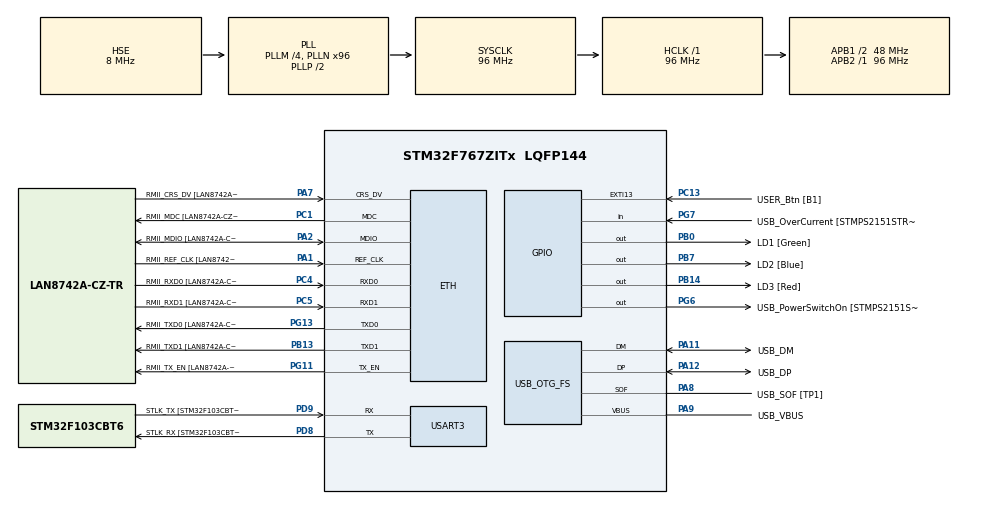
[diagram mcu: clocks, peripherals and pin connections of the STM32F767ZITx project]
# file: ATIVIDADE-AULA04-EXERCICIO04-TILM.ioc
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ETH.MediaInterface=HAL_ETH_RMII_MODE
ETH.PHY_Name=LAN8742A_PHY_ADDRESS
ETH.PHY_Value=0
ETH.PhyAddress=0
FREERTOS.Mutexes01=MeuMutex01,Dynamic,NULL,Available
FREERTOS.Tasks01=Task01,24,128,Task01_Def,Default,NULL,Dynamic,NULL,NULL;Task02,24,128,Task02_Def,Default,NULL,Dynamic,NULL,NULL;Task03,24,128,Task03_Def,Default,NULL,Dynamic,NULL,NULL
FREERTOS.configUSE_NEWLIB_REENTRANT=1
Mcu.Family=STM32F7
Mcu.Name=STM32F767ZITx
Mcu.Package=LQFP144
NVIC.PriorityGroup=NVIC_PRIORITYGROUP_4
NVIC.TIM1_UP_TIM10_IRQn=true\:15\:0\:false\:false\:true\:false\:false\:true\:true
NVIC.TimeBase=TIM1_UP_TIM10_IRQn
NVIC.TimeBaseIP=TIM1
PA1.GPIO_Label=RMII_REF_CLK [LAN8742A-CZ-TR_REFCLK0]
PA1.Mode=RMII
PA1.Signal=ETH_REF_CLK
PA10.GPIO_Label=USB_ID
PA10.Signal=USB_OTG_FS_ID
PA11.GPIO_Label=USB_DM
PA11.Mode=Device_Only
PA11.Signal=USB_OTG_FS_DM
PA12.GPIO_Label=USB_DP
PA12.Mode=Device_Only
PA12.Signal=USB_OTG_FS_DP
PA13.GPIO_Label=TMS
PA13.Mode=Serial_Wire
PA13.Signal=SYS_JTMS-SWDIO
PA14.GPIO_Label=TCK
PA14.Mode=Serial_Wire
PA14.Signal=SYS_JTCK-SWCLK
PA2.GPIO_Label=RMII_MDIO [LAN8742A-CZ-TR_MDIO]
PA2.Mode=RMII
PA2.Signal=ETH_MDIO
PA7.GPIO_Label=RMII_CRS_DV [LAN8742A-CZ-TR_CRS_DV]
PA7.Mode=RMII
PA7.Signal=ETH_CRS_DV
PA8.GPIO_Label=USB_SOF [TP1]
PA8.Mode=Activate_SOF_FS
PA8.Signal=USB_OTG_FS_SOF
PA9.GPIO_Label=USB_VBUS
PA9.Mode=Activate_VBUS
PA9.Signal=USB_OTG_FS_VBUS
PB0.GPIO_Label=LD1 [Green]
PB0.Signal=GPIO_Output
PB13.GPIO_Label=RMII_TXD1 [LAN8742A-CZ-TR_TXD1]
PB13.Mode=RMII
PB13.Signal=ETH_TXD1
PB14.GPIO_Label=LD3 [Red]
PB14.Signal=GPIO_Output
PB3.GPIO_Label=SWO
PB3.Signal=SYS_JTDO-SWO
PB7.GPIO_Label=LD2 [Blue]
PB7.Signal=GPIO_Output
PC1.GPIO_Label=RMII_MDC [LAN8742A-CZ-TR_MDC]
PC1.Mode=RMII
PC1.Signal=ETH_MDC
PC13.GPIO_Label=USER_Btn [B1]
PC13.Signal=GPXTI13
PC14/OSC32_IN.Mode=LSE-External-Oscillator
PC14/OSC32_IN.Signal=RCC_OSC32_IN
PC15/OSC32_OUT.Mode=LSE-External-Oscillator
PC15/OSC32_OUT.Signal=RCC_OSC32_OUT
PC4.GPIO_Label=RMII_RXD0 [LAN8742A-CZ-TR_RXD0]
PC4.Mode=RMII
PC4.Signal=ETH_RXD0
PC5.GPIO_Label=RMII_RXD1 [LAN8742A-CZ-TR_RXD1]
PC5.Mode=RMII
PC5.Signal=ETH_RXD1
PD8.GPIO_Label=STLK_RX [STM32F103CBT6_PA3]
PD8.Mode=Asynchronous
PD8.Signal=USART3_TX
PD9.GPIO_Label=STLK_TX [STM32F103CBT6_PA2]
PD9.Mode=Asynchronous
PD9.Signal=USART3_RX
PG11.GPIO_Label=RMII_TX_EN [LAN8742A-CZ-TR_TXEN]
PG11.Mode=RMII
PG11.Signal=ETH_TX_EN
PG13.GPIO_Label=RMII_TXD0 [LAN8742A-CZ-TR_TXD0]
PG13.Mode=RMII
PG13.Signal=ETH_TXD0
PG6.GPIO_Label=USB_PowerSwitchOn [STMPS2151STR_EN]
PG6.Signal=GPIO_Output
PG7.GPIO_Label=USB_OverCurrent [STMPS2151STR_FAULT]
PG7.Signal=GPIO_Input
PH0/OSC_IN.GPIO_Label=MCO [STM32F103CBT6_PA8]
PH0/OSC_IN.Mode=HSE-External-Clock-Source
PH0/OSC_IN.Signal=RCC_OSC_IN
PH1/OSC_OUT.Mode=HSE-External-Clock-Source
PH1/OSC_OUT.Signal=RCC_OSC_OUT
ProjectManager.HeapSize=0x200
ProjectManager.StackSize=0x400
ProjectManager.TargetToolchain=STM32CubeIDE
RCC.48MHZClocksFreq_Value=24000000
RCC.AHBFreq_Value=96000000
RCC.APB1CLKDivider=RCC_HCLK_DIV2
RCC.APB1Freq_Value=48000000
RCC.APB1TimFreq_Value=96000000
RCC.APB2Freq_Value=96000000
RCC.APB2TimFreq_Value=96000000
RCC.CortexFreq_Value=96000000
RCC.HCLKFreq_Value=96000000
RCC.HSE_VALUE=8000000
RCC.HSI_VALUE=16000000
RCC.PLLM=4
RCC.PLLMUL=RCC_PLL_MUL9
RCC.PLLN=96
RCC.PLLQ=4
RCC.PRESCALERUSB=RCC_USBCLKSOURCE_PLL_DIV1_5
RCC.SYSCLKFreq_VALUE=96000000
RCC.SYSCLKSource=RCC_SYSCLKSOURCE_PLLCLK
RCC.SYSCLKSourceVirtual=RCC_SYSCLKSOURCE_PLLCLK
RCC.USBFreq_Value=48000000
RCC.VCOOutputFreq_Value=192000000
USART3.VirtualMode-Asynchronous=VM_ASYNC
USB_OTG_FS.VirtualMode=Device_Only
VP_FREERTOS_VS_CMSIS_V2.Mode=CMSIS_V2
VP_SYS_VS_tim1.Mode=TIM1
board=NUCLEO-F767ZI

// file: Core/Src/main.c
/* USER CODE BEGIN Header */
/**
  ******************************************************************************
  * @file           : main.c
  * @brief          : Main program body
  ******************************************************************************
  * @attention
  *
  * Copyright (c) 2025 STMicroelectronics.
  * All rights reserved.
  *
  * This software is licensed under terms that can be found in the LICENSE file
  * in the root directory of this software component.
  * If no LICENSE file comes with this software, it is provided AS-IS.
  *
  ******************************************************************************
  */
/* USER CODE END Header */
#include "main.h"
#include "string.h"
#include "cmsis_os.h"

/* USER CODE BEGIN Includes */

#include <stdbool.h>

/* USER CODE END Includes */

#if defined ( __ICCARM__ ) /*!< IAR Compiler */
#pragma location=0x2007c000
ETH_DMADescTypeDef  DMARxDscrTab[ETH_RX_DESC_CNT]; /* Ethernet Rx DMA Descriptors */
#pragma location=0x2007c0a0
ETH_DMADescTypeDef  DMATxDscrTab[ETH_TX_DESC_CNT]; /* Ethernet Tx DMA Descriptors */

#elif defined ( __CC_ARM )  /* MDK ARM Compiler */

__attribute__((at(0x2007c000))) ETH_DMADescTypeDef  DMARxDscrTab[ETH_RX_DESC_CNT]; /* Ethernet Rx DMA Descriptors */
__attribute__((at(0x2007c0a0))) ETH_DMADescTypeDef  DMATxDscrTab[ETH_TX_DESC_CNT]; /* Ethernet Tx DMA Descriptors */

#elif defined ( __GNUC__ ) /* GNU Compiler */

ETH_DMADescTypeDef DMARxDscrTab[ETH_RX_DESC_CNT] __attribute__((section(".RxDecripSection"))); /* Ethernet Rx DMA Descriptors */
ETH_DMADescTypeDef DMATxDscrTab[ETH_TX_DESC_CNT] __attribute__((section(".TxDecripSection")));   /* Ethernet Tx DMA Descriptors */
#endif

ETH_TxPacketConfig TxConfig;

ETH_HandleTypeDef heth;

UART_HandleTypeDef huart3;

PCD_HandleTypeDef hpcd_USB_OTG_FS;

/* Definitions for Task01 */
osThreadId_t Task01Handle;
const osThreadAttr_t Task01_attributes = {
  .name = "Task01",
  .stack_size = 128 * 4,
  .priority = (osPriority_t) osPriorityNormal,
};
/* Definitions for Task02 */
osThreadId_t Task02Handle;
const osThreadAttr_t Task02_attributes = {
  .name = "Task02",
  .stack_size = 128 * 4,
  .priority = (osPriority_t) osPriorityNormal,
};
/* Definitions for Task03 */
osThreadId_t Task03Handle;
const osThreadAttr_t Task03_attributes = {
  .name = "Task03",
  .stack_size = 128 * 4,
  .priority = (osPriority_t) osPriorityNormal,
};
/* Definitions for MeuMutex01 */
osMutexId_t MeuMutex01Handle;
const osMutexAttr_t MeuMutex01_attributes = {
  .name = "MeuMutex01"
};

void SystemClock_Config(void);
static void MX_GPIO_Init(void);
static void MX_ETH_Init(void);
static void MX_USART3_UART_Init(void);
static void MX_USB_OTG_FS_PCD_Init(void);
void Task01_Def(void *argument);
void Task02_Def(void *argument);
void Task03_Def(void *argument);

int main(void)
{

  /* MCU Configuration--------------------------------------------------------*/

  /* Reset of all peripherals, Initializes the Flash interface and the Systick. */
  HAL_Init();

  /* Configure the system clock */
  SystemClock_Config();

  /* Initialize all configured peripherals */
  MX_GPIO_Init();
  MX_ETH_Init();
  MX_USART3_UART_Init();
  MX_USB_OTG_FS_PCD_Init();

  /* Init scheduler */
  osKernelInitialize();
  /* Create the mutex(es) */
  /* creation of MeuMutex01 */
  MeuMutex01Handle = osMutexNew(&MeuMutex01_attributes);

  /* Create the thread(s) */
  /* creation of Task01 */
  Task01Handle = osThreadNew(Task01_Def, NULL, &Task01_attributes);

  /* creation of Task02 */
  Task02Handle = osThreadNew(Task02_Def, NULL, &Task02_attributes);

  /* creation of Task03 */
  Task03Handle = osThreadNew(Task03_Def, NULL, &Task03_attributes);

  /* Start scheduler */
  osKernelStart();

  /* We should never get here as control is now taken by the scheduler */

  /* Infinite loop */
  while (1)
  {

  }
}

void SystemClock_Config(void)
{
  RCC_OscInitTypeDef RCC_OscInitStruct = {0};
  RCC_ClkInitTypeDef RCC_ClkInitStruct = {0};

  /** Configure LSE Drive Capability
  */
  HAL_PWR_EnableBkUpAccess();

  /** Configure the main internal regulator output voltage
  */
  __HAL_RCC_PWR_CLK_ENABLE();
  __HAL_PWR_VOLTAGESCALING_CONFIG(PWR_REGULATOR_VOLTAGE_SCALE3);

  /** Initializes the RCC Oscillators according to the specified parameters
  * in the RCC_OscInitTypeDef structure.
  */
  RCC_OscInitStruct.OscillatorType = RCC_OSCILLATORTYPE_HSE;
  RCC_OscInitStruct.HSEState = RCC_HSE_BYPASS;
  RCC_OscInitStruct.PLL.PLLState = RCC_PLL_ON;
  RCC_OscInitStruct.PLL.PLLSource = RCC_PLLSOURCE_HSE;
  RCC_OscInitStruct.PLL.PLLM = 4;
  RCC_OscInitStruct.PLL.PLLN = 96;
  RCC_OscInitStruct.PLL.PLLP = RCC_PLLP_DIV2;
  RCC_OscInitStruct.PLL.PLLQ = 4;
  RCC_OscInitStruct.PLL.PLLR = 2;
  if (HAL_RCC_OscConfig(&RCC_OscInitStruct) != HAL_OK)
  {
    Error_Handler();
  }

  /** Activate the Over-Drive mode
  */
  if (HAL_PWREx_EnableOverDrive() != HAL_OK)
  {
    Error_Handler();
  }

  /** Initializes the CPU, AHB and APB buses clocks
  */
  RCC_ClkInitStruct.ClockType = RCC_CLOCKTYPE_HCLK|RCC_CLOCKTYPE_SYSCLK
                              |RCC_CLOCKTYPE_PCLK1|RCC_CLOCKTYPE_PCLK2;
  RCC_ClkInitStruct.SYSCLKSource = RCC_SYSCLKSOURCE_PLLCLK;
  RCC_ClkInitStruct.AHBCLKDivider = RCC_SYSCLK_DIV1;
  RCC_ClkInitStruct.APB1CLKDivider = RCC_HCLK_DIV2;
  RCC_ClkInitStruct.APB2CLKDivider = RCC_HCLK_DIV1;

  if (HAL_RCC_ClockConfig(&RCC_ClkInitStruct, FLASH_LATENCY_3) != HAL_OK)
  {
    Error_Handler();
  }
}

static void MX_ETH_Init(void)
{

   static uint8_t MACAddr[6];

  heth.Instance = ETH;
  MACAddr[0] = 0x00;
  MACAddr[1] = 0x80;
  MACAddr[2] = 0xE1;
  MACAddr[3] = 0x00;
  MACAddr[4] = 0x00;
  MACAddr[5] = 0x00;
  heth.Init.MACAddr = &MACAddr[0];
  heth.Init.MediaInterface = HAL_ETH_RMII_MODE;
  heth.Init.TxDesc = DMATxDscrTab;
  heth.Init.RxDesc = DMARxDscrTab;
  heth.Init.RxBuffLen = 1524;

  if (HAL_ETH_Init(&heth) != HAL_OK)
  {
    Error_Handler();
  }

  memset(&TxConfig, 0 , sizeof(ETH_TxPacketConfig));
  TxConfig.Attributes = ETH_TX_PACKETS_FEATURES_CSUM | ETH_TX_PACKETS_FEATURES_CRCPAD;
  TxConfig.ChecksumCtrl = ETH_CHECKSUM_IPHDR_PAYLOAD_INSERT_PHDR_CALC;
  TxConfig.CRCPadCtrl = ETH_CRC_PAD_INSERT;

}

static void MX_USART3_UART_Init(void)
{

  huart3.Instance = USART3;
  huart3.Init.BaudRate = 115200;
  huart3.Init.WordLength = UART_WORDLENGTH_8B;
  huart3.Init.StopBits = UART_STOPBITS_1;
  huart3.Init.Parity = UART_PARITY_NONE;
  huart3.Init.Mode = UART_MODE_TX_RX;
  huart3.Init.HwFlowCtl = UART_HWCONTROL_NONE;
  huart3.Init.OverSampling = UART_OVERSAMPLING_16;
  huart3.Init.OneBitSampling = UART_ONE_BIT_SAMPLE_DISABLE;
  huart3.AdvancedInit.AdvFeatureInit = UART_ADVFEATURE_NO_INIT;
  if (HAL_UART_Init(&huart3) != HAL_OK)
  {
    Error_Handler();
  }

}

static void MX_USB_OTG_FS_PCD_Init(void)
{

  hpcd_USB_OTG_FS.Instance = USB_OTG_FS;
  hpcd_USB_OTG_FS.Init.dev_endpoints = 6;
  hpcd_USB_OTG_FS.Init.speed = PCD_SPEED_FULL;
  hpcd_USB_OTG_FS.Init.dma_enable = DISABLE;
  hpcd_USB_OTG_FS.Init.phy_itface = PCD_PHY_EMBEDDED;
  hpcd_USB_OTG_FS.Init.Sof_enable = ENABLE;
  hpcd_USB_OTG_FS.Init.low_power_enable = DISABLE;
  hpcd_USB_OTG_FS.Init.lpm_enable = DISABLE;
  hpcd_USB_OTG_FS.Init.vbus_sensing_enable = ENABLE;
  hpcd_USB_OTG_FS.Init.use_dedicated_ep1 = DISABLE;
  if (HAL_PCD_Init(&hpcd_USB_OTG_FS) != HAL_OK)
  {
    Error_Handler();
  }

}

static void MX_GPIO_Init(void)
{
  GPIO_InitTypeDef GPIO_InitStruct = {0};

  /* GPIO Ports Clock Enable */
  __HAL_RCC_GPIOC_CLK_ENABLE();
  __HAL_RCC_GPIOH_CLK_ENABLE();
  __HAL_RCC_GPIOA_CLK_ENABLE();
  __HAL_RCC_GPIOB_CLK_ENABLE();
  __HAL_RCC_GPIOD_CLK_ENABLE();
  __HAL_RCC_GPIOG_CLK_ENABLE();

  /*Configure GPIO pin Output Level */
  HAL_GPIO_WritePin(GPIOB, LD1_Pin|LD3_Pin|LD2_Pin, GPIO_PIN_RESET);

  /*Configure GPIO pin Output Level */
  HAL_GPIO_WritePin(USB_PowerSwitchOn_GPIO_Port, USB_PowerSwitchOn_Pin, GPIO_PIN_RESET);

  /*Configure GPIO pin : USER_Btn_Pin */
  GPIO_InitStruct.Pin = USER_Btn_Pin;
  GPIO_InitStruct.Mode = GPIO_MODE_IT_RISING;
  GPIO_InitStruct.Pull = GPIO_NOPULL;
  HAL_GPIO_Init(USER_Btn_GPIO_Port, &GPIO_InitStruct);

  /*Configure GPIO pins : LD1_Pin LD3_Pin LD2_Pin */
  GPIO_InitStruct.Pin = LD1_Pin|LD3_Pin|LD2_Pin;
  GPIO_InitStruct.Mode = GPIO_MODE_OUTPUT_PP;
  GPIO_InitStruct.Pull = GPIO_NOPULL;
  GPIO_InitStruct.Speed = GPIO_SPEED_FREQ_LOW;
  HAL_GPIO_Init(GPIOB, &GPIO_InitStruct);

  /*Configure GPIO pin : USB_PowerSwitchOn_Pin */
  GPIO_InitStruct.Pin = USB_PowerSwitchOn_Pin;
  GPIO_InitStruct.Mode = GPIO_MODE_OUTPUT_PP;
  GPIO_InitStruct.Pull = GPIO_NOPULL;
  GPIO_InitStruct.Speed = GPIO_SPEED_FREQ_LOW;
  HAL_GPIO_Init(USB_PowerSwitchOn_GPIO_Port, &GPIO_InitStruct);

  /*Configure GPIO pin : USB_OverCurrent_Pin */
  GPIO_InitStruct.Pin = USB_OverCurrent_Pin;
  GPIO_InitStruct.Mode = GPIO_MODE_INPUT;
  GPIO_InitStruct.Pull = GPIO_NOPULL;
  HAL_GPIO_Init(USB_OverCurrent_GPIO_Port, &GPIO_InitStruct);

}

void Task01_Def(void *argument)
{
  /* USER CODE BEGIN 5 */
	char mensagem1[50] = "Task01 - Peguei o mutex!\n";
	char mensagem2[50] = "Task01 - Estou com o mutex!\n";
	char mensagem3[50] = "Task02 - Liberei o mutex!\n";

	int ja_peguei_o_mutex = 0;
	int contador_liberar_mutex = 0;

  /* Infinite loop */
  for(;;)
  {
	if (ja_peguei_o_mutex == 0) {
		if (osMutexAcquire(MeuMutex01Handle, osWaitForever) == osOK) {
			HAL_UART_Transmit(&huart3, (uint8_t*)mensagem1, strlen(mensagem1), HAL_MAX_DELAY);
			ja_peguei_o_mutex = 1;
		}
	}
	else if (ja_peguei_o_mutex == 1) {
		HAL_UART_Transmit(&huart3, (uint8_t*)mensagem2, strlen(mensagem2), HAL_MAX_DELAY);
		contador_liberar_mutex += 1;
	}
	if (contador_liberar_mutex >= 10) {

		HAL_UART_Transmit(&huart3, (uint8_t*)mensagem3, strlen(mensagem3), HAL_MAX_DELAY);

		osDelay(2000);

		ja_peguei_o_mutex = 0;
		contador_liberar_mutex = 0;
		osMutexRelease(MeuMutex01Handle);
	}
	osDelay(2000);
  }
  /* USER CODE END 5 */
}

void Task02_Def(void *argument)
{
  /* USER CODE BEGIN Task02_Def */
	char mensagem1[50] = "Task02 - Peguei o mutex!\n";
	char mensagem2[50] = "Task02 - Estou com o mutex!\n";
	char mensagem3[50] = "Task02 - Liberei o mutex!\n";

	int ja_peguei_o_mutex = 0;
	int contador_liberar_mutex = 0;
  /* Infinite loop */
  for(;;)
  {
	if (ja_peguei_o_mutex == 0) {
		if (osMutexAcquire(MeuMutex01Handle, osWaitForever) == osOK) {
			HAL_UART_Transmit(&huart3, (uint8_t*)mensagem1, strlen(mensagem1), HAL_MAX_DELAY);
			ja_peguei_o_mutex = 1;
		}
	}
	else if (ja_peguei_o_mutex == 1) {
		HAL_UART_Transmit(&huart3, (uint8_t*)mensagem2, strlen(mensagem2), HAL_MAX_DELAY);
		contador_liberar_mutex += 1;
	}
	if (contador_liberar_mutex >= 10) {

		HAL_UART_Transmit(&huart3, (uint8_t*)mensagem3, strlen(mensagem3), HAL_MAX_DELAY);

		osDelay(2000);

		ja_peguei_o_mutex = 0;
		contador_liberar_mutex = 0;
		osMutexRelease(MeuMutex01Handle);
	}
    osDelay(2000);
  }
  /* USER CODE END Task02_Def */
}

void Task03_Def(void *argument)
{
  /* USER CODE BEGIN Task03_Def */
	char mensagem1[50] = "Task03 - osErrorResource!\n";
	char mensagem2[50] = "Task03 - Peguei o mutex!\n";
	char mensagem3[50] = "Task03 - Segurando o Mutex!\n";
  /* Infinite loop */
  for(;;)
  {
	osStatus_t status = osMutexAcquire(MeuMutex01Handle, 0);

	if (status == osOK) {
	  HAL_UART_Transmit(&huart3, (uint8_t*)mensagem2, strlen(mensagem2), HAL_MAX_DELAY);

	  for (int i=0; i<=10;i++) {
		  HAL_UART_Transmit(&huart3, (uint8_t*)mensagem3, strlen(mensagem3), HAL_MAX_DELAY);
		  osDelay(1000);
	  }
	  osMutexRelease(MeuMutex01Handle);
	}
	else if (status == osErrorResource) {
	  HAL_UART_Transmit(&huart3, (uint8_t*)mensagem1, strlen(mensagem1), HAL_MAX_DELAY);
	}
	osDelay(4000);
  }
  /* USER CODE END Task03_Def */
}

void HAL_TIM_PeriodElapsedCallback(TIM_HandleTypeDef *htim)
{
  if (htim->Instance == TIM1)
  {
    HAL_IncTick();
  }
}

void Error_Handler(void)
{
  __disable_irq();
  while (1)
  {
  }
}
